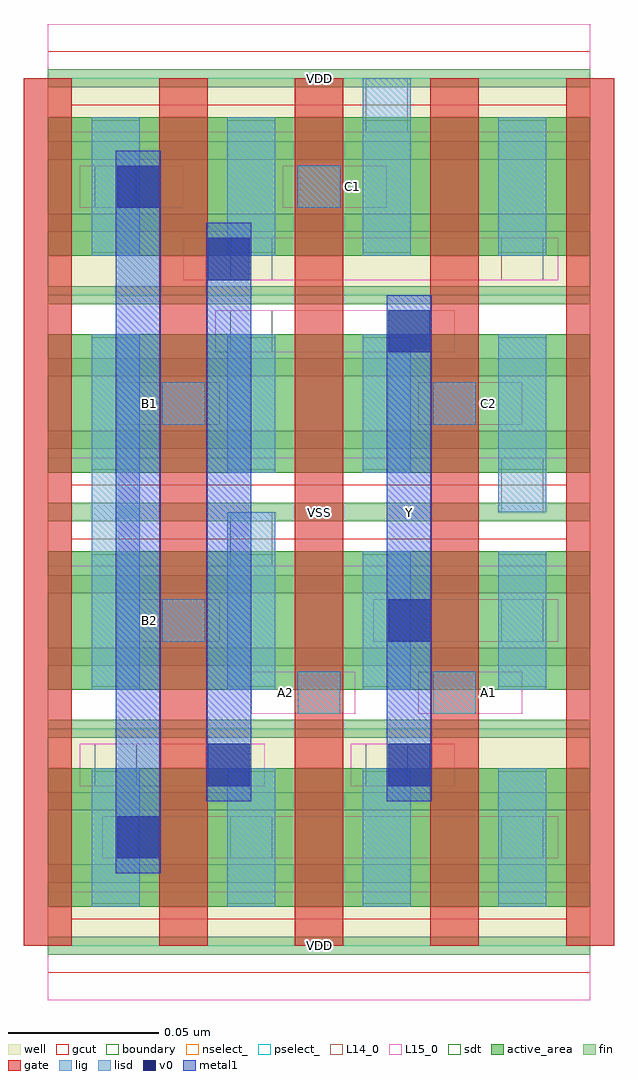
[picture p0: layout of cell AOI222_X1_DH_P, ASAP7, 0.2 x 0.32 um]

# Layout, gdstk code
import gdstk
lib = gdstk.Library(unit=1e-6, precision=2.5e-10)
def R(c, l, rs):  # rectangles x0, y0, x1, y1
    for r in rs: c.add(gdstk.rectangle(r[:2], r[2:], *l))
def A(c, l, x, y, w, h, nx, ny, dx, dy):  # array of equal rectangles
    R(c, l, [(x+i*dx, y+j*dy, x+i*dx+w, y+j*dy+h) for i in range(nx) for j in range(ny)])
def P(c, l, *ps):  # polygons
    for p in ps: c.add(gdstk.Polygon(p, *l))
well = (1, 0)
fin = (2, 0)
gate = (7, 0)
gcut = (10, 0)
active_area = (11, 0)
nselect_ = (12, 0)
pselect_ = (13, 0)
L14_0 = (14, 0)
L15_0 = (15, 0)
lig = (16, 0)
lisd = (17, 0)
v0 = (18, 0)
metal1 = (19, 0)
sdt = (88, 0)
boundary = (100, 0)

aoi222_x1_dh_p = lib.new_cell('AOI222_X1_DH_P')
R(aoi222_x1_dh_p, well, [(0,0,0.18,0.072), (0,0.216,0.18,0.288)])
A(aoi222_x1_dh_p, fin, 0, -0.003, 0.18, 0.006, 1, 13, 0, 0.024)
A(aoi222_x1_dh_p, gate, -0.008, 0, 0.016, 0.288, 5, 1, 0.045, 0)
P(aoi222_x1_dh_p, gcut, [(0,-0.009),(0,0),(-0.008,0),(-0.008,0.135),(0.008,0.135),(0.008,0.009),(0.172,0.009),(0.172,0.135),(-0.008,0.135),(-0.008,0.279),(0.008,0.279),(0.008,0.153),(0.172,0.153),(0.172,0.279),(-0.008,0.279),(-0.008,0.288),(0,0.288),(0,0.297),(0.18,0.297),(0.18,0.288),(0.188,0.288),(0.188,0),(0.18,0),(0.18,-0.009)])
A(aoi222_x1_dh_p, active_area, 0, 0.013, 0.18, 0.046, 1, 4, 0, 0.072)
R(aoi222_x1_dh_p, nselect_, [(0,0.072,0.18,0.144), (0,0.144,0.18,0.216)])
R(aoi222_x1_dh_p, pselect_, [(0,0,0.18,0.072), (0,0.216,0.18,0.288)])
R(aoi222_x1_dh_p, L14_0, [(0.0605,0.029,0.0745,0.043), (0.1505,0.029,0.1645,0.043), (0.0155,0.053,0.0295,0.067), (0.1055,0.053,0.1195,0.067), (0.083,0.077,0.097,0.091), (0.128,0.077,0.142,0.091), (0.038,0.101,0.052,0.115), (0.1505,0.101,0.1645,0.115), (0.0605,0.126,0.0745,0.144), (0.1505,0.144,0.1645,0.162), (0.038,0.173,0.052,0.187), (0.128,0.173,0.142,0.187), (0.0605,0.197,0.0745,0.211), (0.0605,0.221,0.0745,0.235), (0.1505,0.221,0.1645,0.235), (0.0155,0.245,0.0295,0.259), (0.083,0.245,0.097,0.259), (0.1055,0.27,0.1195,0.288)])
A(aoi222_x1_dh_p, L15_0, 0, -0.018, 0.18, 0.036, 1, 3, 0, 0.144)
R(aoi222_x1_dh_p, L15_0, [(0.018,0.029,0.1695,0.043), (0.0105,0.053,0.072,0.067), (0.1005,0.053,0.135,0.067), (0.0675,0.077,0.102,0.091), (0.123,0.077,0.1575,0.091), (0.0225,0.101,0.057,0.115), (0.108,0.101,0.1695,0.115), (0.0225,0.173,0.057,0.187), (0.123,0.173,0.1575,0.187), (0.0555,0.197,0.135,0.211), (0.045,0.221,0.1695,0.235), (0.0105,0.245,0.045,0.259), (0.078,0.245,0.1125,0.259)])
R(aoi222_x1_dh_p, lig, [(0.083,0.077,0.097,0.091), (0.128,0.077,0.142,0.091), (0.038,0.101,0.052,0.115), (0.038,0.173,0.052,0.187), (0.128,0.173,0.142,0.187), (0.083,0.245,0.097,0.259)])
A(aoi222_x1_dh_p, lisd, 0.0145, 0.013, 0.016, 0.046, 4, 1, 0.045, 0)
R(aoi222_x1_dh_p, lisd, [(0.0145,0.085,0.0305,0.203), (0.0595,0.085,0.0755,0.144), (0.1045,0.085,0.1205,0.131), (0.1495,0.085,0.1655,0.131), (0.1495,0.144,0.1655,0.203), (0.0595,0.157,0.0755,0.203), (0.1045,0.157,0.1205,0.203), (0.0145,0.229,0.0305,0.275), (0.0595,0.229,0.0755,0.275), (0.1045,0.229,0.1205,0.288), (0.1495,0.229,0.1655,0.275)])
R(aoi222_x1_dh_p, v0, [(0.023,0.029,0.037,0.043), (0.053,0.053,0.067,0.067), (0.113,0.053,0.127,0.067), (0.113,0.101,0.127,0.115), (0.113,0.197,0.127,0.211), (0.053,0.221,0.067,0.235), (0.023,0.245,0.037,0.259)])
R(aoi222_x1_dh_p, metal1, [(0.0225,0.024,0.0375,0.264), (0.0525,0.048,0.0675,0.24), (0.1125,0.048,0.1275,0.216)])
A(aoi222_x1_dh_p, sdt, 0.0145, 0.014, 0.016, 0.044, 4, 4, 0.045, 0.072)
R(aoi222_x1_dh_p, boundary, [(0,0,0.18,0.288)])
aoi222_x1_dh_p.add(gdstk.Label('A1', (0.1463,0.084), layer=15, texttype=251))
aoi222_x1_dh_p.add(gdstk.Label('VDD', (0.09,0), layer=15, texttype=251))
aoi222_x1_dh_p.add(gdstk.Label('VSS', (0.09,0.144), layer=15, texttype=251))
aoi222_x1_dh_p.add(gdstk.Label('VSS', (0.09,0.144), layer=15, texttype=251))
aoi222_x1_dh_p.add(gdstk.Label('VDD', (0.09,0.288), layer=15, texttype=251))
aoi222_x1_dh_p.add(gdstk.Label('VDD', (0.09,0), layer=15, texttype=251))
aoi222_x1_dh_p.add(gdstk.Label('VSS', (0.09,0.144), layer=15, texttype=251))
aoi222_x1_dh_p.add(gdstk.Label('VSS', (0.09,0.144), layer=15, texttype=251))
aoi222_x1_dh_p.add(gdstk.Label('VDD', (0.09,0.288), layer=15, texttype=251))
aoi222_x1_dh_p.add(gdstk.Label('A2', (0.0788,0.084), layer=15, texttype=251))
aoi222_x1_dh_p.add(gdstk.Label('VDD', (0.09,0), layer=15, texttype=251))
aoi222_x1_dh_p.add(gdstk.Label('VSS', (0.09,0.144), layer=15, texttype=251))
aoi222_x1_dh_p.add(gdstk.Label('VSS', (0.09,0.144), layer=15, texttype=251))
aoi222_x1_dh_p.add(gdstk.Label('VDD', (0.09,0.288), layer=15, texttype=251))
aoi222_x1_dh_p.add(gdstk.Label('B2', (0.0338,0.108), layer=15, texttype=251))
aoi222_x1_dh_p.add(gdstk.Label('VDD', (0.09,0), layer=15, texttype=251))
aoi222_x1_dh_p.add(gdstk.Label('VSS', (0.09,0.144), layer=15, texttype=251))
aoi222_x1_dh_p.add(gdstk.Label('VSS', (0.09,0.144), layer=15, texttype=251))
aoi222_x1_dh_p.add(gdstk.Label('VDD', (0.09,0.288), layer=15, texttype=251))
aoi222_x1_dh_p.add(gdstk.Label('C1', (0.1013,0.252), layer=15, texttype=251))
aoi222_x1_dh_p.add(gdstk.Label('VDD', (0.09,0), layer=15, texttype=251))
aoi222_x1_dh_p.add(gdstk.Label('VSS', (0.09,0.144), layer=15, texttype=251))
aoi222_x1_dh_p.add(gdstk.Label('VSS', (0.09,0.144), layer=15, texttype=251))
aoi222_x1_dh_p.add(gdstk.Label('VDD', (0.09,0.288), layer=15, texttype=251))
aoi222_x1_dh_p.add(gdstk.Label('B1', (0.0338,0.18), layer=15, texttype=251))
aoi222_x1_dh_p.add(gdstk.Label('VDD', (0.09,0), layer=15, texttype=251))
aoi222_x1_dh_p.add(gdstk.Label('VSS', (0.09,0.144), layer=15, texttype=251))
aoi222_x1_dh_p.add(gdstk.Label('VSS', (0.09,0.144), layer=15, texttype=251))
aoi222_x1_dh_p.add(gdstk.Label('VDD', (0.09,0.288), layer=15, texttype=251))
aoi222_x1_dh_p.add(gdstk.Label('C2', (0.1463,0.18), layer=15, texttype=251))
aoi222_x1_dh_p.add(gdstk.Label('VDD', (0.09,0), layer=15, texttype=251))
aoi222_x1_dh_p.add(gdstk.Label('VSS', (0.09,0.144), layer=15, texttype=251))
aoi222_x1_dh_p.add(gdstk.Label('VSS', (0.09,0.144), layer=15, texttype=251))
aoi222_x1_dh_p.add(gdstk.Label('VDD', (0.09,0.288), layer=15, texttype=251))
aoi222_x1_dh_p.add(gdstk.Label('VDD', (0.09,0), layer=1, texttype=251))
aoi222_x1_dh_p.add(gdstk.Label('VDD', (0.09,0.288), layer=1, texttype=251))
aoi222_x1_dh_p.add(gdstk.Label('VDD', (0.09,0), layer=1, texttype=251))
aoi222_x1_dh_p.add(gdstk.Label('VDD', (0.09,0.288), layer=1, texttype=251))
aoi222_x1_dh_p.add(gdstk.Label('VDD', (0.09,0), layer=1, texttype=251))
aoi222_x1_dh_p.add(gdstk.Label('VDD', (0.09,0.288), layer=1, texttype=251))
aoi222_x1_dh_p.add(gdstk.Label('VDD', (0.09,0), layer=1, texttype=251))
aoi222_x1_dh_p.add(gdstk.Label('VDD', (0.09,0.288), layer=1, texttype=251))
aoi222_x1_dh_p.add(gdstk.Label('VDD', (0.09,0), layer=1, texttype=251))
aoi222_x1_dh_p.add(gdstk.Label('VDD', (0.09,0.288), layer=1, texttype=251))
aoi222_x1_dh_p.add(gdstk.Label('VDD', (0.09,0), layer=1, texttype=251))
aoi222_x1_dh_p.add(gdstk.Label('VDD', (0.09,0.288), layer=1, texttype=251))
aoi222_x1_dh_p.add(gdstk.Label('VDD', (0.09,0), layer=1, texttype=251))
aoi222_x1_dh_p.add(gdstk.Label('VDD', (0.09,0.288), layer=1, texttype=251))
aoi222_x1_dh_p.add(gdstk.Label('VSS', (0.09,0.144), layer=3, texttype=251))
aoi222_x1_dh_p.add(gdstk.Label('VSS', (0.09,0.144), layer=3, texttype=251))
aoi222_x1_dh_p.add(gdstk.Label('VSS', (0.09,0.144), layer=3, texttype=251))
aoi222_x1_dh_p.add(gdstk.Label('VSS', (0.09,0.144), layer=3, texttype=251))
aoi222_x1_dh_p.add(gdstk.Label('VSS', (0.09,0.144), layer=3, texttype=251))
aoi222_x1_dh_p.add(gdstk.Label('VSS', (0.09,0.144), layer=3, texttype=251))
aoi222_x1_dh_p.add(gdstk.Label('VSS', (0.09,0.144), layer=3, texttype=251))
aoi222_x1_dh_p.add(gdstk.Label('VSS', (0.09,0.144), layer=3, texttype=251))
aoi222_x1_dh_p.add(gdstk.Label('VSS', (0.09,0.144), layer=3, texttype=251))
aoi222_x1_dh_p.add(gdstk.Label('VSS', (0.09,0.144), layer=3, texttype=251))
aoi222_x1_dh_p.add(gdstk.Label('VSS', (0.09,0.144), layer=3, texttype=251))
aoi222_x1_dh_p.add(gdstk.Label('VSS', (0.09,0.144), layer=3, texttype=251))
aoi222_x1_dh_p.add(gdstk.Label('VSS', (0.09,0.144), layer=3, texttype=251))
aoi222_x1_dh_p.add(gdstk.Label('VSS', (0.09,0.144), layer=3, texttype=251))
aoi222_x1_dh_p.add(gdstk.Label('Y', (0.12,0.144), layer=19, texttype=251))

lib.write_gds('AOI222_X1_DH_P.gds')
